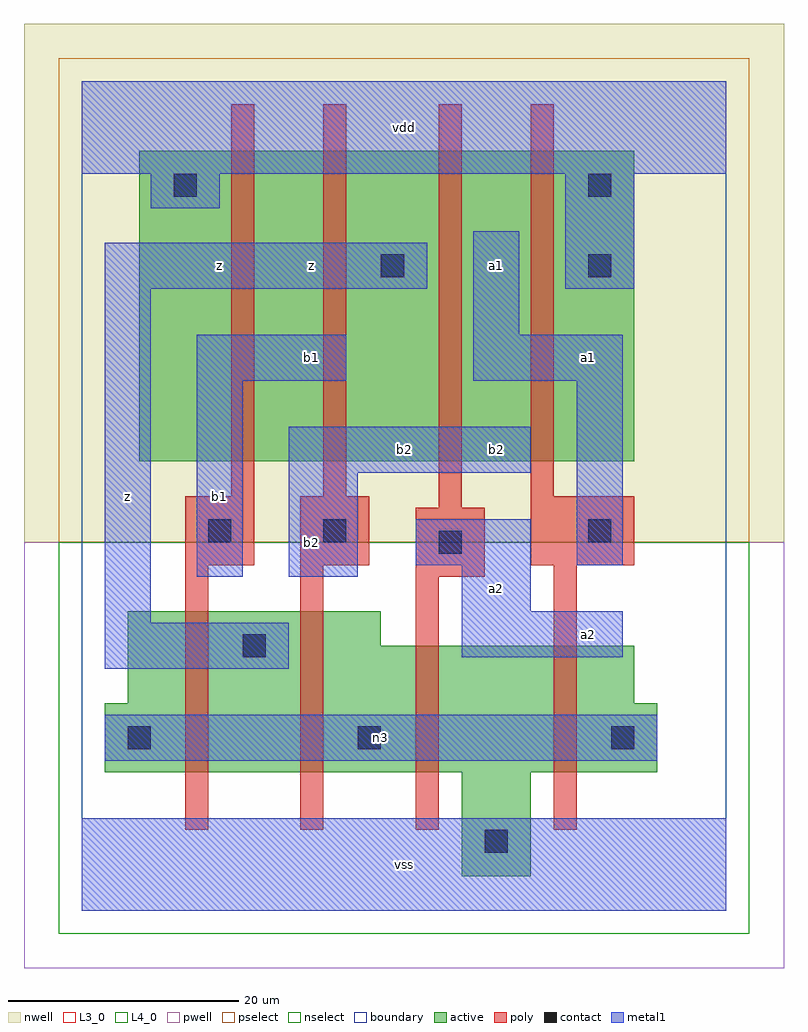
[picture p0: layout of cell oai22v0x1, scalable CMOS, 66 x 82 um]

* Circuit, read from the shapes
.subckt oai22v0x1 a1 a2 b1 b2 n3 vdd vss z
M1 z b1 n3 VSUBS nfet w=14u l=2u
M2 n3 b2 z VSUBS nfet w=14u l=2u
M3 vss a2 n3 VSUBS nfet w=11u l=2u
M4 n3 a1 vss VSUBS nfet w=11u l=2u
M5 n1 b1 vdd n2 pfet w=27u l=2u
M6 z b2 n1 n2 pfet w=27u l=2u
M7 n4 a2 z n2 pfet w=27u l=2u
M8 vdd a1 n4 n2 pfet w=27u l=2u
.ends

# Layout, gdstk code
import gdstk
lib = gdstk.Library(unit=1e-6, precision=1e-09)
def R(c, l, rs):  # rectangles x0, y0, x1, y1
    for r in rs: c.add(gdstk.rectangle(r[:2], r[2:], *l))
L3_0 = (3, 0)
L4_0 = (4, 0)
contact = (25, 0)
pwell = (41, 0)
nwell = (42, 0)
active = (43, 0)
pselect = (44, 0)
nselect = (45, 0)
poly = (46, 0)
metal1 = (49, 0)
boundary = (63, 0)

oai22v0x1 = lib.new_cell('oai22v0x1')
R(oai22v0x1, L3_0, [(33,3,39,12), (2,12,50,18), (4,18,48,23), (4,23,26,26)])
R(oai22v0x1, L4_0, [(5,39,48,66)])
R(oai22v0x1, contact, [(35,5,37,7), (4,14,6,16), (24,14,26,16), (46,14,48,16), (14,22,16,24), (31,31,33,33), (11,32,13,34), (21,32,23,34), (44,32,46,34), (26,55,28,57), (44,55,46,57), (8,62,10,64), (44,62,46,64)])
R(oai22v0x1, pwell, [(-5,-5,61,32)])
R(oai22v0x1, nwell, [(-5,32,61,77)])
R(oai22v0x1, active, [(33,3,39,12), (2,12,50,18), (4,18,48,23), (4,23,26,26), (5,39,48,66)])
R(oai22v0x1, pselect, [(-2,32,58,74)])
R(oai22v0x1, nselect, [(-2,-2,58,32)])
R(oai22v0x1, poly, [(9,7,11,30), (19,7,21,30), (29,7,31,29), (41,7,43,30), (29,29,35,35), (9,30,15,36), (19,30,25,36), (39,30,48,36), (31,35,33,70), (13,36,15,70), (21,36,23,70), (39,36,41,70)])
R(oai22v0x1, metal1, [(0,0,56,8), (2,13,50,17), (2,21,18,25), (33,22,47,26), (2,25,6,54), (33,26,39,30), (10,29,14,46), (18,29,24,38), (29,30,39,34), (43,30,47,46), (18,38,39,42), (10,46,23,50), (34,46,47,50), (34,50,38,59), (2,54,30,58), (42,54,48,64), (6,61,12,64), (0,64,56,72)])
R(oai22v0x1, boundary, [(0,0,56,72)])
oai22v0x1.add(gdstk.Label('n3', (26,15), layer=49, texttype=0))
oai22v0x1.add(gdstk.Label('z', (4,36), layer=49, texttype=0))
oai22v0x1.add(gdstk.Label('b2', (20,32), layer=49, texttype=0))
oai22v0x1.add(gdstk.Label('b1', (12,36), layer=49, texttype=0))
oai22v0x1.add(gdstk.Label('b1', (20,48), layer=49, texttype=0))
oai22v0x1.add(gdstk.Label('z', (20,56), layer=49, texttype=0))
oai22v0x1.add(gdstk.Label('z', (12,56), layer=49, texttype=0))
oai22v0x1.add(gdstk.Label('vss', (28,4), layer=49, texttype=0))
oai22v0x1.add(gdstk.Label('a2', (36,28), layer=49, texttype=0))
oai22v0x1.add(gdstk.Label('b2', (36,40), layer=49, texttype=0))
oai22v0x1.add(gdstk.Label('b2', (28,40), layer=49, texttype=0))
oai22v0x1.add(gdstk.Label('a1', (36,56), layer=49, texttype=0))
oai22v0x1.add(gdstk.Label('vdd', (28,68), layer=49, texttype=0))
oai22v0x1.add(gdstk.Label('a2', (44,24), layer=49, texttype=0))
oai22v0x1.add(gdstk.Label('a1', (44,48), layer=49, texttype=0))

lib.write_gds('oai22v0x1.gds')
